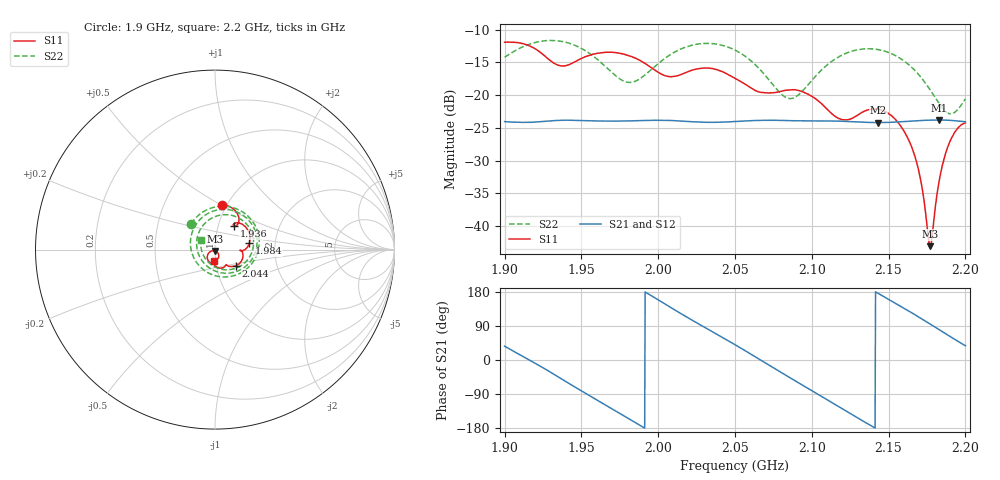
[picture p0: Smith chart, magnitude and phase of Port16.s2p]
# Hz S RI R 50
! CMT, CMT808U, 21440046, 21.4.3/4
! Date: 3/28/2026 5:07:46 PM
! Data: Format (Calibration Info)
! Freq	S11:Re/Im(F2)	S41:Re/Im(F2)	S14:Re/Im(F2)	S44:Re/Im(F2)
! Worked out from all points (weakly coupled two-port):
!   1001 points, 1.9 GHz to 2.2 GHz, reference 50 ohm
!   highest |S21| = -23.78 dB at 2.183 GHz (marker M1); lowest = -24.2 dB at 2.143 GHz (marker M2)
!   lowest |S11| = -43.1 dB at 2.177 GHz (marker M3), VSWR 1.01, Z = 49.9 - j0.692 ohm
!   |S11| at or under -10 dB: start of sweep to end of sweep
!   |S22| runs from -22.9 to -11.6 dB; largest |S21 - S12| = 0.00048
!   S11 on the Smith chart (normalised r, x): 1.9 GHz: 0.95, +0.51; 1.936 GHz: 1.19, +0.32; 1.984 GHz: 1.47, +0.11; 2.044 GHz: 1.24, -0.23; 2.2 GHz: 0.99, -0.12
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1.9e9  0.0389 0.2506  0.0506 0.0373  0.0502 0.0375  -0.1331 0.143
1.9177e9  0.1261 0.1972  0.062 -0.00411  0.0619 -0.00373  0.06 0.2413
1.936e9  0.1068 0.1298  0.0436 -0.0472  0.0438 -0.0469  0.2333 0.1125
1.9501e9  0.1193 0.1496  0.00898 -0.0634  0.00934 -0.0633  0.2208 -0.0549
1.9669e9  0.1788 0.1156  -0.0335 -0.0539  -0.0332 -0.054  0.0498 -0.1525
1.984e9  0.1912 0.0354  -0.0608 -0.0192  -0.0606 -0.0195  -0.1181 -0.0456
2.0002e9  0.149 -0.00673  -0.0598 0.0239  -0.0598 0.0235  -0.1067 0.1389
2.0203e9  0.1522 -0.0138  -0.0208 0.0593  -0.0211 0.0591  0.0922 0.2195
2.0443e9  0.1156 -0.0901  0.0369 0.0504  0.0366 0.0506  0.234 0.0283
2.05e9  0.0964 -0.094  0.048 0.0408  0.0477 0.041  0.2191 -0.03
2.0671e9  0.0635 -0.0838  0.0642 -0.00122  0.0642 -0.000871  0.0804 -0.1308
2.0839e9  0.0515 -0.0965  0.0474 -0.043  0.0476 -0.0427  -0.0715 -0.0629
2.1001e9  0.00934 -0.0975  0.00976 -0.0628  0.0101 -0.0627  -0.0912 0.0929
2.1196e9  -0.00108 -0.0652  -0.0393 -0.0496  -0.0389 -0.0497  0.0549 0.1947
2.1433e9  -0.0236 -0.0745  -0.0616 0.00461  -0.0616 0.00429  0.2122 0.0683
2.1502e9  -0.0378 -0.0616  -0.0582 0.0214  -0.0583 0.0211  0.2115 0.00593
2.1664e9  -0.0324 -0.0163  -0.0331 0.0543  -0.0333 0.0541  0.1201 -0.1022
2.1709e9  -0.0208 -0.00848  -0.0222 0.0601  -0.0226 0.0599  0.0804 -0.1119
2.1772e9  -0.00112 -0.00694  -0.00517 0.0643  -0.00552 0.0643  0.0238 -0.1065
2.1826e9  0.0139 -0.0158  0.0102 0.0639  0.00983 0.0639  -0.0199 -0.0849
2.1901e9  0.0207 -0.0396  0.0303 0.0567  0.0299 0.0568  -0.0635 -0.034
2.2e9  -0.00363 -0.0613  0.0497 0.0382  0.0494 0.0385  -0.078 0.0518
